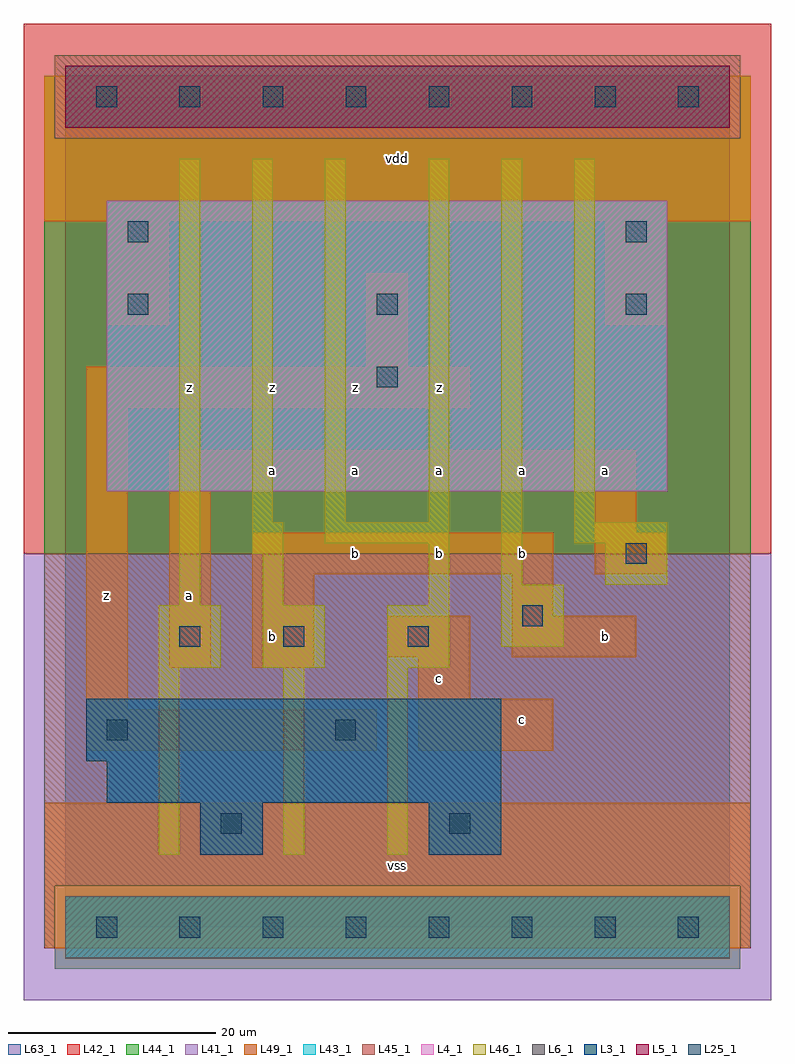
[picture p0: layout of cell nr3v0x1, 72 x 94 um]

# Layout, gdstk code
import gdstk
lib = gdstk.Library(unit=1e-6, precision=1e-09)
def R(c, l, rs):  # rectangles x0, y0, x1, y1
    for r in rs: c.add(gdstk.rectangle(r[:2], r[2:], *l))
def A(c, l, x, y, w, h, nx, ny, dx, dy):  # array of equal rectangles
    R(c, l, [(x+i*dx, y+j*dy, x+i*dx+w, y+j*dy+h) for i in range(nx) for j in range(ny)])
L3_1 = (3, 1)
L4_1 = (4, 1)
L5_1 = (5, 1)
L6_1 = (6, 1)
L25_1 = (25, 1)
L41_1 = (41, 1)
L42_1 = (42, 1)
L43_1 = (43, 1)
L44_1 = (44, 1)
L45_1 = (45, 1)
L46_1 = (46, 1)
L49_1 = (49, 1)
L63_1 = (63, 1)

nr3v0x1 = lib.new_cell('nr3v0x1')
R(nr3v0x1, L3_1, [(13,7,19,12), (35,7,42,12), (4,12,42,16), (2,16,42,22)])
R(nr3v0x1, L4_1, [(4,42,58,70)])
R(nr3v0x1, L5_1, [(0,77,64,83)])
R(nr3v0x1, L6_1, [(0,-3,64,3), (0,-3,64,3)])
A(nr3v0x1, L25_1, 3, -1, 2, 2, 8, 2, 8, 80)
A(nr3v0x1, L25_1, 6, 59, 2, 2, 3, 1, 24, 0)
R(nr3v0x1, L25_1, [(15,9,17,11), (37,9,39,11), (4,18,6,20), (26,18,28,20), (11,27,13,29), (21,27,23,29), (33,27,35,29), (44,29,46,31), (54,35,56,37), (30,52,32,54), (6,66,8,68), (54,66,56,68)])
R(nr3v0x1, L41_1, [(-4,-7,68,36)])
R(nr3v0x1, L42_1, [(-4,36,68,87)])
R(nr3v0x1, L43_1, [(0,-3,64,3), (13,7,19,12), (35,7,42,12), (4,12,42,16), (2,16,42,22), (4,42,58,70), (0,77,64,83)])
R(nr3v0x1, L44_1, [(-1,-4,65,4), (-2,36,66,76), (-2,76,-1,82), (65,76,66,82)])
R(nr3v0x1, L45_1, [(-2,-2,-1,4), (65,-2,66,4), (-2,4,66,36), (-1,76,65,84)])
R(nr3v0x1, L46_1, [(9,7,11,25), (21,7,23,25), (31,7,33,25), (9,25,15,31), (19,25,25,31), (31,25,37,31), (42,27,48,33), (11,31,13,74), (19,31,21,36), (35,31,37,37), (42,33,44,74), (52,33,58,37), (18,36,21,39), (25,37,37,39), (49,37,58,39), (18,39,20,74), (25,39,27,74), (35,39,37,74), (49,39,51,74)])
R(nr3v0x1, L49_1, [(-2,-2,66,12), (2,17,30,21), (34,17,47,22), (2,21,6,50), (34,22,39,26), (10,25,14,42), (18,25,24,34), (31,26,39,30), (43,26,55,30), (43,30,47,34), (18,34,47,38), (51,34,58,38), (51,38,55,42), (10,42,55,46), (2,50,39,54), (29,54,33,63), (4,58,10,68), (52,58,58,68), (-2,68,66,82)])
R(nr3v0x1, L63_1, [(0,0,64,80)])
nr3v0x1.add(gdstk.Label('z', (4,32), layer=49, texttype=1))
nr3v0x1.add(gdstk.Label('b', (20,28), layer=49, texttype=1))
nr3v0x1.add(gdstk.Label('a', (12,32), layer=49, texttype=1))
nr3v0x1.add(gdstk.Label('a', (20,44), layer=49, texttype=1))
nr3v0x1.add(gdstk.Label('z', (20,52), layer=49, texttype=1))
nr3v0x1.add(gdstk.Label('z', (12,52), layer=49, texttype=1))
nr3v0x1.add(gdstk.Label('vss', (32,6), layer=49, texttype=1))
nr3v0x1.add(gdstk.Label('c', (36,24), layer=49, texttype=1))
nr3v0x1.add(gdstk.Label('b', (28,36), layer=49, texttype=1))
nr3v0x1.add(gdstk.Label('a', (28,44), layer=49, texttype=1))
nr3v0x1.add(gdstk.Label('b', (36,36), layer=49, texttype=1))
nr3v0x1.add(gdstk.Label('a', (36,44), layer=49, texttype=1))
nr3v0x1.add(gdstk.Label('z', (36,52), layer=49, texttype=1))
nr3v0x1.add(gdstk.Label('z', (28,52), layer=49, texttype=1))
nr3v0x1.add(gdstk.Label('vdd', (32,74), layer=49, texttype=1))
nr3v0x1.add(gdstk.Label('c', (44,20), layer=49, texttype=1))
nr3v0x1.add(gdstk.Label('b', (44,36), layer=49, texttype=1))
nr3v0x1.add(gdstk.Label('a', (44,44), layer=49, texttype=1))
nr3v0x1.add(gdstk.Label('b', (52,28), layer=49, texttype=1))
nr3v0x1.add(gdstk.Label('a', (52,44), layer=49, texttype=1))

lib.write_gds('nr3v0x1.gds')
